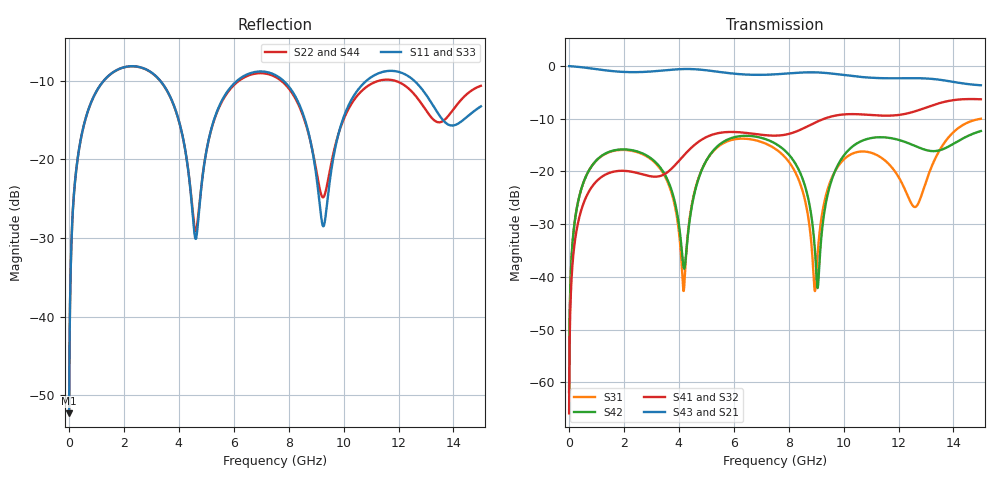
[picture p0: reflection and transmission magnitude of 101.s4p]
! Created with skrf 1.8.0 (http://scikit-rf.org).
# GHz S RI R 50.0
!freq ReS11 ImS11 ReS12 ImS12 ReS13 ImS13
! ReS14 ImS14
! ReS21 ImS21 ReS22 ImS22 ReS23 ImS23
! ReS24 ImS24
! ReS31 ImS31 ReS32 ImS32 ReS33 ImS33
! ReS34 ImS34
! ReS41 ImS41 ReS42 ImS42 ReS43 ImS43
! ReS44 ImS44
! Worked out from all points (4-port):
!   2499 points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, 5 MHz to 15 GHz, reference 50 ohm
!   strongest paths, dB at 5 MHz, 3.476 GHz, 7.19 GHz, 11.1 GHz, 15 GHz:
!     S43: 0.0, -0.8, -1.6, -2.2, -3.6
!     S21: 0.0, -0.8, -1.6, -2.2, -3.6
!     S41: -65.9, -20.5, -13.1, -9.3, -6.3
!     S32: -65.9, -20.6, -13.2, -9.4, -6.3
!     S42: -61.9, -20.5, -13.9, -13.6, -12.3
!     S31: -61.9, -20.8, -14.8, -16.6, -10.0
!   lowest |S11| = -52.3 dB at 5 MHz (marker M1), VSWR 1.00, Z = 50.2 + j0.147 ohm
!   |S11| at or under -10 dB: 3.323 GHz to 6.126 GHz (2.803 GHz wide, 59.3 % of centre); 7.806 GHz to 10.84 GHz (3.03 GHz wide, 32.5 % of centre); 12.57 GHz to end of sweep (the widest 3 of 4)
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0.005  0.00194 0.00147  0.998 -0.00377  9.95e-05 0.0008  -9.64e-05 -0.000497
       0.998 -0.00377  0.00194 0.00147  -9.64e-05 -0.000497  9.95e-05 0.0008
       9.95e-05 0.0008  -9.64e-05 -0.000497  0.00194 0.00147  0.998 -0.00377
       -9.64e-05 -0.000497  9.95e-05 0.0008  0.998 -0.00377  0.00194 0.00147
1.3193  0.2723 0.1754  0.5446 -0.7307  0.1313 0.0653  -0.093 -0.00537
        0.5446 -0.7307  0.2714 0.176  -0.0929 -0.00548  0.1342 0.0614
        0.1313 0.0653  -0.0929 -0.00548  0.2724 0.1753  0.5446 -0.7307
        -0.093 -0.00537  0.1342 0.0614  0.5446 -0.7307  0.2714 0.1761
4.170488  0.0642 -0.115  -0.8654 -0.3602  -0.00701 -0.00218  -0.0492 0.132
          -0.8654 -0.3602  0.0677 -0.1126  -0.0507 0.1314  -0.0112 -0.0055
          -0.00701 -0.00218  -0.0507 0.1314  0.0647 -0.1161  -0.8651 -0.3603
          -0.0492 0.132  -0.0112 -0.0055  -0.8651 -0.3603  0.0682 -0.1137
4.695707  0.034 0.0194  -0.9292 -0.0109  0.0113 0.0826  0.0057 0.1893
          -0.9292 -0.0109  0.0376 0.0193  0.00379 0.1893  0.014 0.0807
          0.0113 0.0826  0.00379 0.1893  0.0342 0.0181  -0.9293 -0.0112
          0.0057 0.1893  0.014 0.0807  -0.9293 -0.0112  0.0374 0.0177
8.953731  0.0529 -0.0746  0.8066 0.3309  -0.00732 -0.000368  0.0979 -0.273
          0.8066 0.3309  0.0702 -0.0646  0.1043 -0.2705  -0.0116 -0.0142
          -0.00732 -0.000368  0.1043 -0.2705  0.0515 -0.0721  0.8078 0.3284
          0.0979 -0.273  -0.0116 -0.0142  0.8078 0.3284  0.069 -0.0616
11.91747  0.3618 -0.0247  0.0162 -0.7661  0.064 -0.0716  -0.3398 0.0343
          0.0162 -0.7661  0.314 -0.0111  -0.3395 0.0227  0.0693 -0.1899
          0.064 -0.0716  -0.3395 0.0227  0.3636 -0.0323  0.0128 -0.7655
          -0.3398 0.0343  0.0693 -0.1899  0.0128 -0.7655  0.3141 -0.00398
15  0.217 0.00984  -0.6053 0.2631  0.2448 0.1996  0.2728 0.3999
    -0.6053 0.2631  0.2926 0.0213  0.2607 0.4064  0.1717 0.1703
    0.2448 0.1996  0.2607 0.4064  0.2264 0.0202  -0.6001 0.2692
    0.2728 0.3999  0.1717 0.1703  -0.6001 0.2692  0.2956 0.0237
